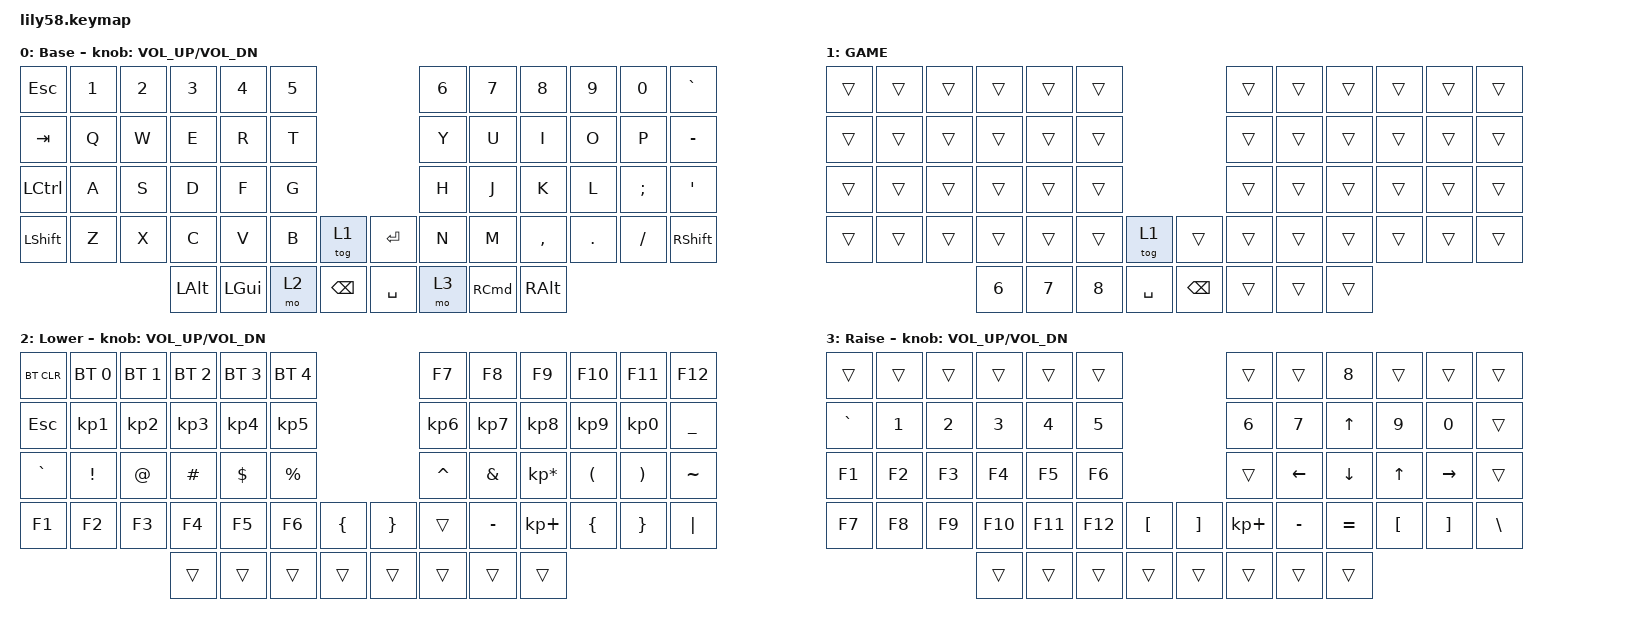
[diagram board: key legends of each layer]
/*
 * Copyright (c) 2020 The ZMK Contributors
 *
 * SPDX-License-Identifier: MIT
 */

#include <behaviors.dtsi>
#include <dt-bindings/zmk/bt.h>
#include <dt-bindings/zmk/keys.h>

/ {
    keymap {
        compatible = "zmk,keymap";

        BASE {
            // ------------------------------------------------------------------------------------------------------------
            // |  ESC  |  1  |  2  |  3   |  4   |  5   |                   |  6   |  7    |  8    |  9   |   0   |   `   |
            // |  TAB  |  Q  |  W  |  E   |  R   |  T   |                   |  Y   |  U    |  I    |  O   |   P   |   -   |
            // |  CTRL |  A  |  S  |  D   |  F   |  G   |                   |  H   |  J    |  K    |  L   |   ;   |   '   |
            // | SHIFT |  Z  |  X  |  C   |  V   |  B   |   "["  |  |  "]"  |  N   |  M    |  ,    |  .   |   /   | SHIFT |
            //                     | ALT  | GUI  | LOWER|  SPACE |  | ENTER | RAISE| BSPC  | GUI   |

            display-name = "Base";
            bindings = <
&kp ESC    &kp N1  &kp N2  &kp N3    &kp N4        &kp N5                              &kp N6  &kp N7             &kp N8         &kp N9   &kp N0    &kp GRAVE
&kp TAB    &kp Q   &kp W   &kp E     &kp R         &kp T                               &kp Y   &kp U              &kp I          &kp O    &kp P     &kp MINUS
&kp LCTRL  &kp A   &kp S   &kp D     &kp F         &kp G                               &kp H   &kp J              &kp K          &kp L    &kp SEMI  &kp SQT
&kp LSHFT  &kp Z   &kp X   &kp C     &kp V         &kp B   &tog 1           &kp ENTER  &kp N   &kp M              &kp COMMA      &kp DOT  &kp FSLH  &kp RSHFT
                           &kp LALT  &kp LEFT_GUI  &mo 2   &kp BACKSPACE    &kp SPACE  &mo 3   &kp RIGHT_COMMAND  &kp RIGHT_ALT
            >;

            sensor-bindings = <&inc_dec_kp C_VOL_UP C_VOL_DN>;
        };

        GAME {
            bindings = <
&trans  &trans  &trans  &trans        &trans  &trans                              &trans  &trans  &trans  &trans  &trans  &trans
&trans  &trans  &trans  &trans        &trans  &trans                              &trans  &trans  &trans  &trans  &trans  &trans
&trans  &trans  &trans  &trans        &trans  &trans                              &trans  &trans  &trans  &trans  &trans  &trans
&trans  &trans  &trans  &trans        &trans  &trans  &tog 1       &trans         &trans  &trans  &trans  &trans  &trans  &trans
                        &kp NUMBER_6  &kp N7  &kp N8  &kp SPACE    &kp BACKSPACE  &trans  &trans  &trans
            >;
        };

        lower_layer {
            // ------------------------------------------------------------------------------------------------------------
            // | BTCLR | BT1 | BT2 |  BT3 |  BT4 |  BT5 |                   |      |       |       |      |       |       |
            // |  F1   |  F2 |  F3 |  F4  |  F5  |  F6  |                   |  F7  |  F8   |  F9   |  F10 |  F11  |  F12  |
            // |   `   |  !  |  @  |  #   |  $   |  %   |                   |  ^   |  &    |  *    |  (   |   )   |   ~   |
            // |       |     |     |      |      |      |        |  |       |      |  _    |  +    |  {   |   }   |  "|"  |
            //                     |      |      |      |        |  |       |      |       |       |

            display-name = "Lower";
            bindings = <
&bt BT_CLR  &bt BT_SEL 0     &bt BT_SEL 1     &bt BT_SEL 2     &bt BT_SEL 3     &bt BT_SEL 4                                        &kp F7           &kp F8           &kp F9           &kp F10          &kp F11          &kp F12
&kp ESC     &kp KP_NUMBER_1  &kp KP_NUMBER_2  &kp KP_NUMBER_3  &kp KP_NUMBER_4  &kp KP_NUMBER_5                                     &kp KP_NUMBER_6  &kp KP_NUMBER_7  &kp KP_NUMBER_8  &kp KP_NUMBER_9  &kp KP_NUMBER_0  &kp UNDERSCORE
&kp GRAVE   &kp EXCL         &kp AT           &kp HASH         &kp DOLLAR       &kp PRCNT                                           &kp CARET        &kp AMPS         &kp KP_MULTIPLY  &kp LPAR         &kp RPAR         &kp TILDE
&kp F1      &kp F2           &kp F3           &kp F4           &kp F5           &kp F6           &kp LEFT_BRACE    &kp RIGHT_BRACE  &trans           &kp MINUS        &kp KP_PLUS      &kp LBRC         &kp RBRC         &kp PIPE
                                              &trans           &trans           &trans           &trans            &trans           &trans           &trans           &trans
            >;

            sensor-bindings = <&inc_dec_kp C_VOL_UP C_VOL_DN>;
        };

        raise_layer {
            // ------------------------------------------------------------------------------------------------------------
            // |       |     |     |      |      |      |                   |      |       |       |      |       |       |
            // |   `   |  1  |  2  |  3   |  4   |  5   |                   |  6   |   7   |   8   |  9   |   0   |       |
            // |   F1  |  F2 |  F3 |  F4  |  F5  |  F6  |                   |      |   <-  |   v   |  ^   |  ->   |       |
            // |   F7  |  F8 |  F9 |  F10 |  F11 |  F12 |        |  |       |  +   |   -   |   =   |  [   |   ]   |   \   |
            //                     |      |      |      |        |  |       |      |       |       |

            display-name = "Raise";
            bindings = <
&trans     &trans  &trans  &trans   &trans   &trans                                          &trans       &trans     &kp NUMBER_8  &trans    &trans     &trans
&kp GRAVE  &kp N1  &kp N2  &kp N3   &kp N4   &kp N5                                          &kp N6       &kp N7     &kp UP_ARROW  &kp N9    &kp N0     &trans
&kp F1     &kp F2  &kp F3  &kp F4   &kp F5   &kp F6                                          &trans       &kp LEFT   &kp DOWN      &kp UP    &kp RIGHT  &trans
&kp F7     &kp F8  &kp F9  &kp F10  &kp F11  &kp F12  &kp LEFT_BRACKET    &kp RIGHT_BRACKET  &kp KP_PLUS  &kp MINUS  &kp EQUAL     &kp LBKT  &kp RBKT   &kp BSLH
                           &trans   &trans   &trans   &trans              &trans             &trans       &trans     &trans
            >;

            sensor-bindings = <&inc_dec_kp C_VOL_UP C_VOL_DN>;
        };
    };
};
